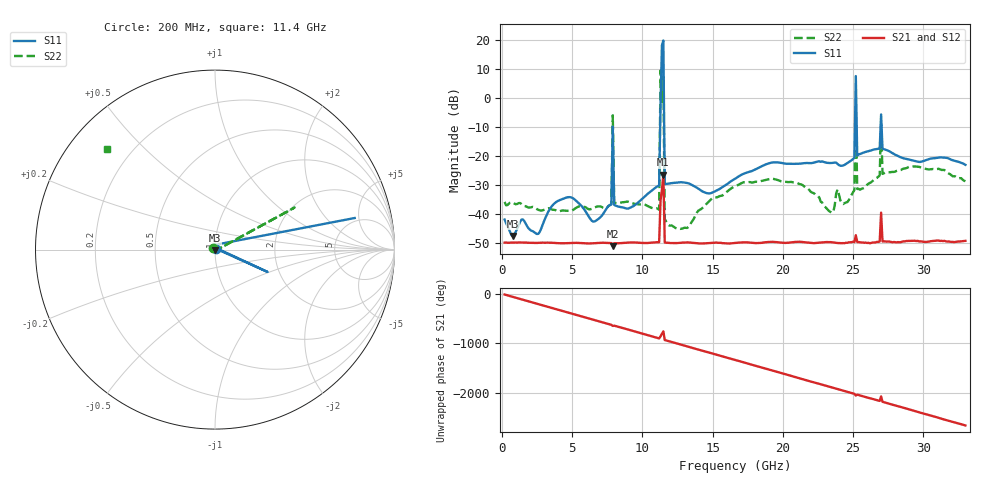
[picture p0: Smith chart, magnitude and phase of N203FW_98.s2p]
# GHZ S RI R 50
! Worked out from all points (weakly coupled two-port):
!   329 points, 200 MHz to 33 GHz, reference 50 ohm
!   highest |S21| = -26.56 dB at 11.5 GHz (marker M1); lowest = -51.2 dB at 7.9 GHz (marker M2)
!   lowest |S11| = -47.6 dB at 800 MHz (marker M3), VSWR 1.01, Z = 50.1 - j0.405 ohm
!   |S11| at or under -10 dB: start of sweep to 7.9 GHz; 11.56 GHz to 25.14 GHz (13.58 GHz wide, 74 % of centre); 27.04 GHz to end of sweep (the widest 3 of 5)
!   |S22| runs from -45.2 to 9.4 dB; largest |S21 - S12| = 0.01
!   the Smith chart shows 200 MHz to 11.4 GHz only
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0.2  0.00634 0.00483  0.00305 -0.000895  0.00306 -0.000888  -0.0136 0.00848
0.8  0.000977 -0.00404  0.00139 -0.00287  0.00138 -0.00287  -0.0118 0.0101
5.7  0.007 0.0115  -0.000438 -0.00309  -0.000454 -0.00309  0.00732 -0.011
7.8  -0.00888 0.0114  -0.000206 0.00311  -0.000214 0.00312  -0.00818 -0.0123
7.9  0.293 -0.1245  0.000867 0.00262  0.000857 0.00252  0.4435 0.2344
8  -0.00421 0.0136  0.000655 0.00303  0.000655 0.00304  -0.0104 -0.0118
11.2  0.011 0.0287  -0.00322 -5.5e-05  -0.00323 -5.99e-05  -0.00943 0.00693
11.3  0.7785 0.176  -0.0122 -0.0117  -0.0124 -0.00842  0.3733 2.944
11.4  4.72 6.559  0.00229 -0.0259  0.00134 -0.0249  -0.6018 0.5596
11.5  9.049 -3.718  0.038 -0.0277  0.0374 -0.0282  -0.1921 -2.288
11.6  0.0291 0.0145  -0.00271 0.0017  -0.00271 0.0017  -0.00619 0.00529
16.6  -0.0328 0.023  -0.00105 0.00295  -0.00104 0.00295  -0.0293 0.00557
22.1  -0.0288 -0.0695  0.00282 0.00135  0.00283 0.00135  0.0202 0.0115
23.5  0.00665 0.0749  0.000155 -0.00321  0.000144 -0.00323  0.00984 -0.00336
25.1  -0.0399 -0.0835  -0.00269 0.00182  -0.00272 0.00183  -0.0242 -0.00849
25.2  2.283 0.6656  -0.00157 0.00396  -0.00138 0.00399  0.2817 0.5347
25.3  -0.0754 -0.067  -0.00209 0.00251  -0.00207 0.0025  -0.0266 -0.00304
26.9  0.0634 0.1169  0.00332 0.000192  0.00328 0.000161  -0.0407 0.021
27  0.3802 -0.3513  -0.001 0.0104  -0.000594 0.000142  -0.1918 0.3037
27.1  0.1009 0.0851  0.00324 -0.00078  0.00323 -0.000801  -0.0403 0.0274
27.6  0.1158 -0.0282  0.00184 -0.00275  0.00189 -0.00271  -0.0351 0.0383
33  0.0177 0.0677  -0.0022 -0.00261  -0.0022 -0.00259  0.0345 0.0117
